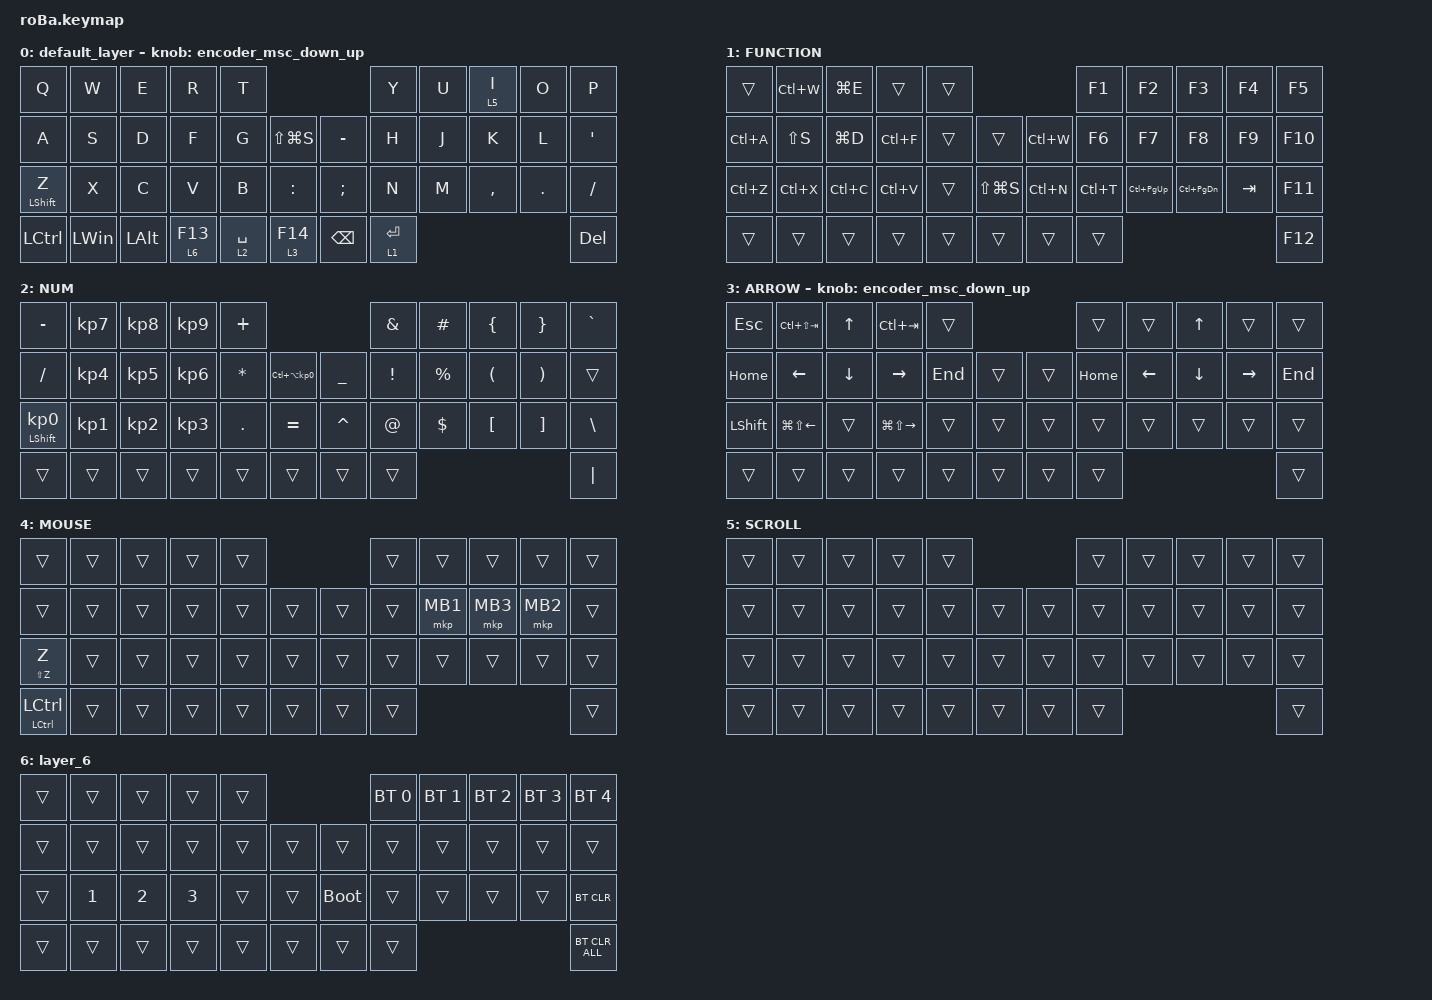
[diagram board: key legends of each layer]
#include <input/processors.dtsi>
#include <input/processors.dtsi>
#include <behaviors.dtsi>
#include <dt-bindings/zmk/bt.h>
#include <dt-bindings/zmk/keys.h>
#include <dt-bindings/zmk/pointing.h>

#define ZMK_POINTING_DEFAULT_SCRL_VAL 80
#define MOUSE 4 // 各自のマウスレイヤーに合わせて設定

&mt {
    flavor = "balanced";
    quick-tap-ms = <0>;
};

&trackball {
    automouse-layer = <4>;
    scroll-layers = <5>;

    arrows {
        layers = <3>;
        bindings =
            <&kp RIGHT_ARROW>,
            <&kp LEFT_ARROW>,
            <&kp UP_ARROW>,
            <&kp DOWN_ARROW>;

        tick = <10>;
        wait-ms = <5>;
        tap-ms = <5>;
    };
};

&mkp_input_listener { input-processors = <&zip_temp_layer 4 180>; };

/ {
    combos {
        compatible = "zmk,combos";

        tab {
            bindings = <&kp TAB>;
            key-positions = <11 12>;
        };

        shift_tab {
            bindings = <&kp LS(TAB)>;
            key-positions = <12 13>;
        };

        muhennkann {
            bindings = <&to_layer_0 INT_MUHENKAN>;
            key-positions = <11 10>;
        };

        double_quotation {
            bindings = <&kp DOUBLE_QUOTES>;
            key-positions = <20 21>;
        };

        eq {
            bindings = <&kp EQUAL>;
            key-positions = <24 25>;
        };
    };

    macros {
        to_layer_0: to_layer_0 {
            compatible = "zmk,behavior-macro-one-param";
            #binding-cells = <1>;
            bindings = <&to 0 &macro_param_1to1 &kp MACRO_PLACEHOLDER>;
            label = "TO_LAYER_0";
        };

        exit_AML: exit_AML {
            compatible = "zmk,behavior-macro";
            wait-ms = <0>;
            tap-ms = <0>;
            #binding-cells = <0>;
            bindings = <&tog_off MOUSE>;
            label = "exit_AML";
        };

        kp_exit_AML: kp_exit_AML {
            compatible = "zmk,behavior-macro-one-param";
            wait-ms = <0>;
            tap-ms = <0>;
            #binding-cells = <1>;
            bindings = <&macro_param_1to1 &kp MACRO_PLACEHOLDER &exit_AML>;
            label = "KP_exit_AML";
        };
    };

    behaviors {
        tog_off: toggle_layer_off {
            compatible = "zmk,behavior-toggle-layer";
            #binding-cells = <1>;
            display-name = "Toggle Layer Off";
            toggle-mode = "off";
        };

        mt_exit_AML_on_tap: mt_exit_AML_on_tap {
            compatible = "zmk,behavior-hold-tap";
            label = "MT_exit_AML_ON_TAP";
            bindings = <&kp>, <&kp_exit_AML>;

            #binding-cells = <2>;
            tapping-term-ms = <200>;
            flavor = "balanced";
            quick-tap-ms = <200>;
        };

        lt_to_layer_0: lt_to_layer_0 {
            compatible = "zmk,behavior-hold-tap";
            label = "LAYER_TAP_TO_0";
            bindings = <&mo>, <&to_layer_0>;

            #binding-cells = <2>;
            tapping-term-ms = <200>;
        };

        encoder_msc_down_up: encoder_msc_down_up {
            compatible = "zmk,behavior-sensor-rotate";
            label = "ENCODER_MSC_DOWN_UP";
            #sensor-binding-cells = <0>;
            bindings = <&msc SCRL_UP>, <&msc SCRL_DOWN>;

            tap-ms = <20>;
        };
    };

    keymap {
        compatible = "zmk,keymap";

        default_layer {
            bindings = <
&kp Q             &kp W         &kp E         &kp R                 &kp T                                                 &kp Y        &kp U  &lt 5 I    &kp O    &kp P
&kp A             &kp S         &kp D         &kp F                 &kp G        &kp LS(LG(S))             &kp MINUS      &kp H        &kp J  &kp K      &kp L    &kp SINGLE_QUOTE
&mt LEFT_SHIFT Z  &kp X         &kp C         &kp V                 &kp B        &kp COLON                 &kp SEMICOLON  &kp N        &kp M  &kp COMMA  &kp DOT  &kp SLASH
&kp LCTRL         &kp LEFT_WIN  &kp LEFT_ALT  &lt_to_layer_0 6 F13  &lt 2 SPACE  &lt_to_layer_0 3 F14      &kp BACKSPACE  &lt 1 ENTER                             &kp DEL
            >;

            sensor-bindings = <&encoder_msc_down_up>;
        };

        FUNCTION {
            bindings = <
&trans     &kp LC(W)  &kp LG(E)  &trans     &trans                                &kp F1     &kp F2           &kp F3             &kp F4   &kp F5
&kp LC(A)  &kp LS(S)  &kp LG(D)  &kp LC(F)  &trans  &trans             &kp LC(W)  &kp F6     &kp F7           &kp F8             &kp F9   &kp F10
&kp LC(Z)  &kp LC(X)  &kp LC(C)  &kp LC(V)  &trans  &kp LS(LG(S))      &kp LC(N)  &kp LC(T)  &kp LC(PAGE_UP)  &kp LC(PAGE_DOWN)  &kp TAB  &kp F11
&trans     &trans     &trans     &trans     &trans  &trans             &trans     &trans                                                  &kp F12
            >;
        };

        NUM {
            bindings = <
&kp MINUS                   &kp KP_NUMBER_7  &kp KP_NUMBER_8  &kp KP_NUMBER_9  &kp PLUS                                                   &kp AMPS         &kp POUND    &kp LEFT_BRACE        &kp RIGHT_BRACE        &kp GRAVE
&kp SLASH                   &kp KP_NUMBER_4  &kp KP_NUMBER_5  &kp KP_NUMBER_6  &kp ASTERISK  &kp LC(LA(KP_NUMBER_0))      &kp UNDERSCORE  &kp EXCLAMATION  &kp PERCENT  &kp LEFT_PARENTHESIS  &kp RIGHT_PARENTHESIS  &trans
&mt LEFT_SHIFT KP_NUMBER_0  &kp KP_NUMBER_1  &kp KP_NUMBER_2  &kp KP_NUMBER_3  &kp PERIOD    &kp EQUAL                    &kp CARET       &kp AT_SIGN      &kp DLLR     &kp LEFT_BRACKET      &kp RIGHT_BRACKET      &kp BACKSLASH
&trans                      &trans           &trans           &trans           &trans        &trans                       &trans          &trans                                                                     &kp PIPE
            >;
        };

        ARROW {
            bindings = <
&kp ESCAPE      &kp LC(LS(TAB))         &kp UP_ARROW    &kp LC(TAB)              &trans                       &trans    &trans          &kp UP_ARROW    &trans           &trans
&kp HOME        &kp LEFT_ARROW          &kp DOWN_ARROW  &kp RIGHT_ARROW          &kp END  &trans      &trans  &kp HOME  &kp LEFT_ARROW  &kp DOWN_ARROW  &kp RIGHT_ARROW  &kp END
&kp LEFT_SHIFT  &kp LG(LS(LEFT_ARROW))  &trans          &kp LG(LS(RIGHT_ARROW))  &trans   &trans      &trans  &trans    &trans          &trans          &trans           &trans
&trans          &trans                  &trans          &trans                   &trans   &trans      &trans  &trans                                                     &trans
            >;

            sensor-bindings = <&encoder_msc_down_up>;
        };

        MOUSE {
            bindings = <
&trans                                         &trans  &trans  &trans  &trans                      &trans  &trans    &trans    &trans    &trans
&trans                                         &trans  &trans  &trans  &trans  &trans      &trans  &trans  &mkp MB1  &mkp MB3  &mkp MB2  &trans
&mt_exit_AML_on_tap LS(Z) Z                    &trans  &trans  &trans  &trans  &trans      &trans  &trans  &trans    &trans    &trans    &trans
&mt_exit_AML_on_tap LEFT_CONTROL LEFT_CONTROL  &trans  &trans  &trans  &trans  &trans      &trans  &trans                                &trans
            >;
        };

        SCROLL {
            bindings = <
&trans  &trans  &trans  &trans  &trans                      &trans  &trans  &trans  &trans  &trans
&trans  &trans  &trans  &trans  &trans  &trans      &trans  &trans  &trans  &trans  &trans  &trans
&trans  &trans  &trans  &trans  &trans  &trans      &trans  &trans  &trans  &trans  &trans  &trans
&trans  &trans  &trans  &trans  &trans  &trans      &trans  &trans                          &trans
            >;
        };

        layer_6 {
            bindings = <
&trans  &trans        &trans        &trans        &trans                           &bt BT_SEL 0  &bt BT_SEL 1  &bt BT_SEL 2  &bt BT_SEL 3  &bt BT_SEL 4
&trans  &trans        &trans        &trans        &trans  &trans      &trans       &trans        &trans        &trans        &trans        &trans
&trans  &kp NUMBER_1  &kp NUMBER_2  &kp NUMBER_3  &trans  &trans      &bootloader  &trans        &trans        &trans        &trans        &bt BT_CLR
&trans  &trans        &trans        &trans        &trans  &trans      &trans       &trans                                                  &bt BT_CLR_ALL
            >;
        };
    };
};
